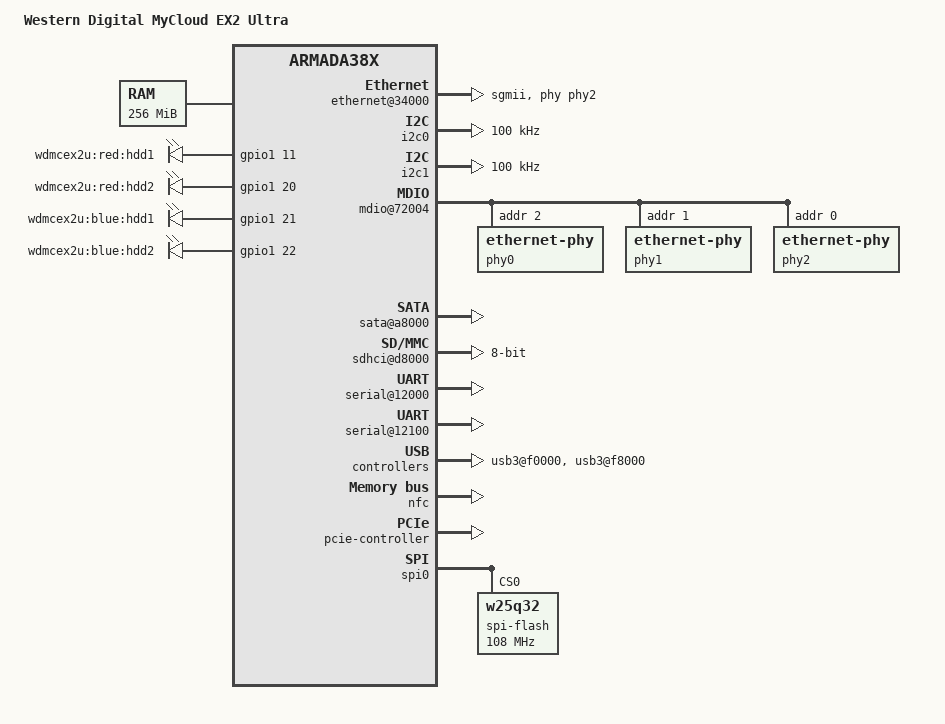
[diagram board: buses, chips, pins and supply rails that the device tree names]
/*
 * Device Tree file for Marvell Armada 385 evaluation board
 * (DB-88F6820)
 *
 *  Copyright (C) 2013 Marvell
 *
 * Thomas Petazzoni <thomas.petazzoni@free-electrons.com>
 *
 * This file is licensed under the terms of the GNU General Public
 * License version 2.  This program is licensed "as is" without any
 * warranty of any kind, whether express or implied.
 */

/dts-v1/;
#include "armada-385.dtsi"
#include <dt-bindings/input/input.h>
#include <dt-bindings/gpio/gpio.h>

/ {
	model = "Western Digital MyCloud EX2 Ultra";
	compatible = "marvell,a385-db", "marvell,armada385", "marvell,armada38x";

	chosen {
		bootargs = "console=ttyS0,115200 root=LABEL=rootfs earlyprintk";
	};

	memory {
		device_type = "memory";
		reg = <0x00000000 0x10000000>; /* 256 MB */
	};

	soc {
		ranges = <MBUS_ID(0xf0, 0x01) 0 0xf1000000 0x100000
			  MBUS_ID(0x01, 0x1d) 0 0xfff00000 0x100000
			  MBUS_ID(0x09, 0x19) 0 0xf1100000 0x10000
			  MBUS_ID(0x09, 0x15) 0 0xf1110000 0x10000
			  MBUS_ID(0x0c, 0x04) 0 0xf1200000 0x100000>;

		internal-regs {

			ethernet@70000 {
				status = "disabled";
				phy-mode = "rgmii";
				phy = <&phy0>;
				buffer-manager = <&bm>;
				bm,pool-long = <0>;
				bm,pool-short = <3>;
			};

			ethernet@30000 {
				status = "disabled";
				phy-mode = "rgmii";
				phy = <&phy1>;
				buffer-manager = <&bm>;
				bm,pool-long = <1>;
				bm,pool-short = <3>;
			};

			ethernet@34000 {
				status = "okay";
				phy-mode = "sgmii";
				phy = <&phy2>;
				bm,pool-long = <2>;
				bm,pool-short = <3>;
			};
						

			i2c0: i2c@11000 {
				status = "okay";
				clock-frequency = <100000>;
			};

			i2c1: i2c@11100 {
				status = "okay";
				clock-frequency = <100000>;
			};

			mdio@72004 {
				pinctrl-names = "default";
				pinctrl-0 = <&mdio_pins>;
				phy0: ethernet-phy@0 {
					reg = <2>;
				};

				phy1: ethernet-phy@1 {
					reg = <1>;
				};

				phy2: ethernet-phy@2{
					reg = <0>;
				};
			};
			
			sata@a8000 {
				status = "okay";
			};
			
			sdhci@d8000 {
				broken-cd;
				wp-inverted;
				bus-width = <8>;
				status = "okay";
				no-1-8-v;
			};

			serial@12000 {
				status = "okay";
			};

			/* ttyS1 is connected to w Welltrend 6703F-OG240WT Micocontroller
			 * which controls power fan and other things */
			serial@12100 {
				status = "okay";
			};

			poweroff@12100 {
				compatible = "wdmcex2u,power-off";
				reg = <0x12100 0x100>;
				clocks = <&coreclk 0>;
				status = "okay";
			};
	
			usb3@f0000 {
				status = "okay";
			};
			
			usb3@f8000 {
				status = "okay";
			};

			/*
			 * 1GB Flash via NFC NAND controller
			 * should be disabled when the board boots
			 * from SPI flash, since NFC shares the same
			 * pins with SPI0 and requires SLM-1358 jumper.
			 * However the u-boot DTB parser will
			 * handle this situation and disable/remove
			 * unnessesary devices according to board
			 * boot-up configuration.
			 */
			nfc: flash@d0000 {
				status = "okay";
				#address-cells = <1>;
				#size-cells = <1>;
				num-cs = <1>;
				marvell,nand-keep-config;
				marvell,nand-enable-arbiter;
				nand-on-flash-bbt;
				nand-ecc-strength = <4>;
				nand-ecc-step-size = <512>;
				
				partition@00000000 {
					label = "U-Boot";
					reg = <0x00000000 0x00500000>;
					read-only;
				};

				partition@00500000 {
					label = "uImage";
					reg = <0x00500000 0x00500000>;
				};

				partition@00a00000 {
					label = "uRamdisk";
					reg = <0x00a00000 0x00500000>; //BLUE_ADD for Alpha 256MBNAND
				};
				
				partition@00f00000 {
					label = "image.cfs";
					reg = <0x00f00000 0x0b900000>;
				};

				partition@c800000 {
					label = "rescue fw";
					reg = <0x0c800000 0x00f00000>;
				};
				
				partition@d70000 {
					label = "config";
					reg = <0x0d700000 0x01400000>; 
				};
				
				partition@eb00000 {
					label = "reserve1";
					reg = <0x0eb00000 0x00a00000>;
				};
				
				partition@f500000 {
					label = "reserve2";
					reg = <0x0f500000 0x00a00000>;
				};
			};

			crypto@9D000 {
				status = "okay";
			};
		};


		pcie-controller {
			status = "okay";
			/*
			 * The two PCIe units are accessible through
			 * standard PCIe slots on the board.
			 */
			pcie@1,0 {
				/* Port 0, Lane 0 */
				status = "okay";
			};
			pcie@2,0 {
				/* Port 1, Lane 0 */
				status = "okay";
			};
		};

								
	};

	gpio-leds {
		compatible = "gpio-leds";
		pinctrl-0 = <&sata_leds>;
		pinctrl-names = "default";

		red-sata1-led {
			label = "wdmcex2u:red:hdd1";
			gpios = <&gpio1 11 GPIO_ACTIVE_HIGH>;
		};
		red-sata2-led {
			label = "wdmcex2u:red:hdd2";
			gpios = <&gpio1 20 GPIO_ACTIVE_HIGH>;
		};
		blue-sata1-led {
			label = "wdmcex2u:blue:hdd1";
			gpios = <&gpio1 21 GPIO_ACTIVE_HIGH>;
		};
		blue-sata2-led {
			label = "wdmcex2u:blue:hdd2";
			gpios = <&gpio1 22 GPIO_ACTIVE_HIGH>;
		};
	};

};

&spi0 {
	status = "okay";

	spi-flash@0 {
		#address-cells = <1>;
		#size-cells = <0>;
		compatible = "w25q32";
		reg = <0>; /* Chip select 0 */
		spi-max-frequency = <108000000>;
	};
};

&pinctrl {
	sata_leds: sata-leds {
		marvell,pins = "mpp43", "mpp52", "mpp53", "mpp54";
		marvell,function = "gpio";
	};
};
